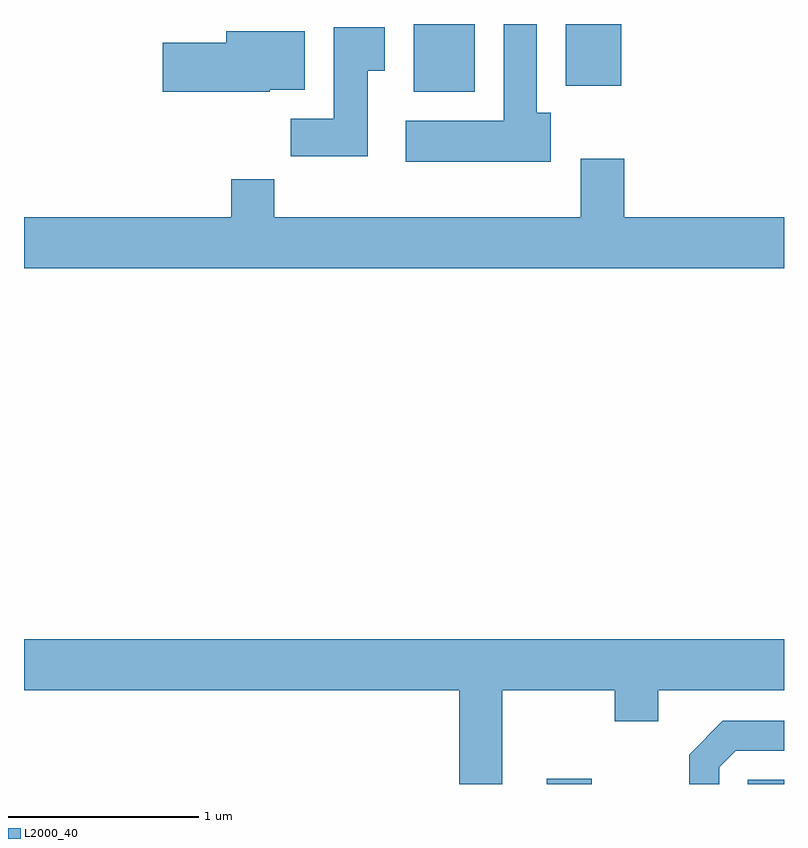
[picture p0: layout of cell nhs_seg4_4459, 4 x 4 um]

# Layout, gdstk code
import gdstk
lib = gdstk.Library(unit=1e-6, precision=1e-09)
def R(c, l, rs):  # rectangles x0, y0, x1, y1
    for r in rs: c.add(gdstk.rectangle(r[:2], r[2:], *l))
def P(c, l, *ps):  # polygons
    for p in ps: c.add(gdstk.Polygon(p, *l))
L2000_40 = (2000, 40)

nhs_seg4_4459 = lib.new_cell('nhs_seg4_4459')
R(nhs_seg4_4459, L2000_40, [(318.361,1331.982,318.598,1332.009), (319.421,1331.982,319.611,1332.004), (317.661,1335.626,317.984,1335.982), (318.461,1335.656,318.754,1335.982)])
P(nhs_seg4_4459, L2000_40, [(318.384,1335.514),(318.309,1335.514),(318.309,1335.982),(318.136,1335.982),(318.136,1335.474),(317.621,1335.474),(317.621,1335.256),(318.384,1335.256)],
  [(317.419,1335.736),(317.509,1335.736),(317.509,1335.964),(317.241,1335.964),(317.241,1335.484),(317.016,1335.484),(317.016,1335.286),(317.419,1335.286)],
  [(316.905,1335.636),(317.089,1335.636),(317.089,1335.944),(316.676,1335.944),(316.676,1335.884),(316.341,1335.884),(316.341,1335.626),(316.905,1335.626)],
  [(319.611,1334.964),(318.769,1334.964),(318.769,1335.274),(318.541,1335.274),(318.541,1334.964),(316.929,1334.964),(316.929,1335.164),(316.701,1335.164),(316.701,1334.964),(315.611,1334.964),(315.611,1334.696),(319.611,1334.696)],
  [(318.129,1332.476),(318.721,1332.476),(318.721,1332.311),(318.949,1332.311),(318.949,1332.476),(319.611,1332.476),(319.611,1332.744),(315.611,1332.744),(315.611,1332.476),(317.901,1332.476),(317.901,1331.982),(318.129,1331.982)],
  [(319.269,1332.069),(319.357,1332.156),(319.611,1332.156),(319.611,1332.314),(319.289,1332.314),(319.111,1332.137),(319.111,1331.982),(319.269,1331.982)])

lib.write_gds('nhs_seg4_4459.gds')
